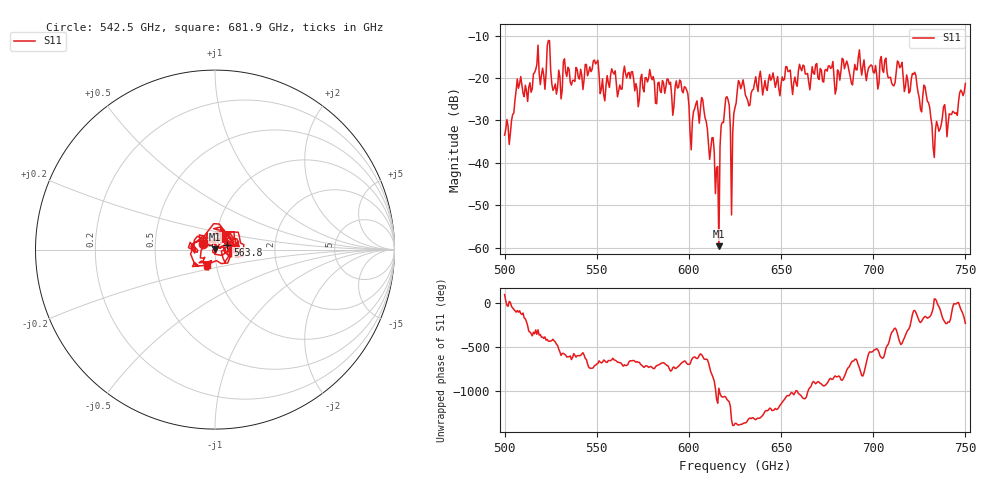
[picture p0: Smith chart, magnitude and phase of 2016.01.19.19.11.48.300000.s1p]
!Created with skrf (http://scikit-rf.org).
# GHz S RI R 50.0
!freq ReS11 ImS11
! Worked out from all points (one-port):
!   401 points, 500 GHz to 750 GHz, reference 50 ohm
!   lowest |S11| = -59.6 dB at 616.2 GHz (marker M1), VSWR 1.00, Z = 50 + j0.096 ohm
!   |S11| at or under -10 dB: start of sweep to end of sweep
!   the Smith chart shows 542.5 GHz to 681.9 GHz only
!   S11 on the Smith chart (normalised r, x): 542.5 GHz: 0.87, +0.05; 563.8 GHz: 1.15, +0.06; 681.9 GHz: 0.91, -0.15
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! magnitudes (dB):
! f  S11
! 500 GHz  -33.5
! 507.5 GHz  -22.4
! 516.9 GHz  -18.0
! 531.2 GHz  -22.9
! 542.5 GHz  -22.7
! 549.4 GHz  -16.7
! 553.1 GHz  -20.2
! 558.8 GHz  -18.6
! 562.5 GHz  -21.7
! 563.8 GHz  -22.6
! 593.8 GHz  -22.4
! 598.8 GHz  -22.8
! 601.2 GHz  -36.9
! 607.5 GHz  -25.1
! 615 GHz  -41.2
! 616.2 GHz  -59.6
! 620 GHz  -24.7
! 623.1 GHz  -52.3
! 625 GHz  -27.0
! 628.1 GHz  -22.5
! 656.2 GHz  -23.9
! 681.9 GHz  -20.5
! 687.5 GHz  -19.6
! 714.4 GHz  -17.6
! 718.8 GHz  -20.5
! 728.8 GHz  -23.9
! 733.1 GHz  -38.7
! 750 GHz  -21.3
